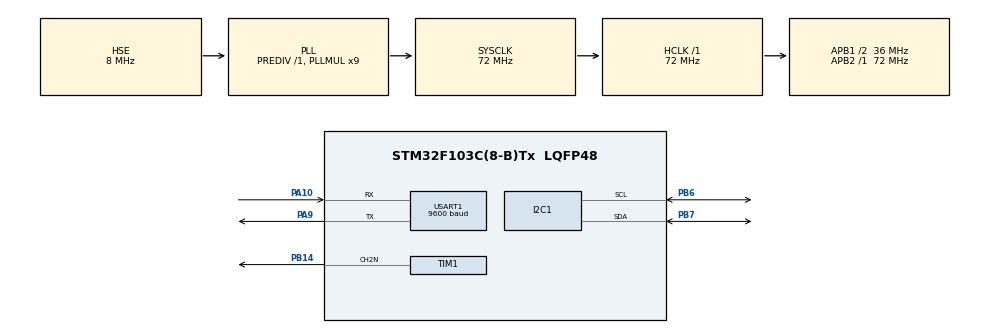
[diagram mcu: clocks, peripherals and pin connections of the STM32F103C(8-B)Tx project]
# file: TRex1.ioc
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Mcu.Family=STM32F1
Mcu.Name=STM32F103C(8-B)Tx
Mcu.Package=LQFP48
NVIC.PriorityGroup=NVIC_PRIORITYGROUP_4
PA10.Mode=Asynchronous
PA10.Signal=USART1_RX
PA13.Mode=Serial_Wire
PA13.Signal=SYS_JTMS-SWDIO
PA14.Mode=Serial_Wire
PA14.Signal=SYS_JTCK-SWCLK
PA9.Mode=Asynchronous
PA9.Signal=USART1_TX
PB14.Mode=PWM Generation2 CH2N
PB14.Signal=TIM1_CH2N
PB6.Mode=I2C
PB6.Signal=I2C1_SCL
PB7.Mode=I2C
PB7.Signal=I2C1_SDA
PD0-OSC_IN.Mode=HSE-External-Oscillator
PD0-OSC_IN.Signal=RCC_OSC_IN
PD1-OSC_OUT.Mode=HSE-External-Oscillator
PD1-OSC_OUT.Signal=RCC_OSC_OUT
ProjectManager.HeapSize=0x200
ProjectManager.StackSize=0x400
ProjectManager.TargetToolchain=MDK-ARM V5.32
RCC.AHBFreq_Value=72000000
RCC.APB1CLKDivider=RCC_HCLK_DIV2
RCC.APB1Freq_Value=36000000
RCC.APB1TimFreq_Value=72000000
RCC.APB2Freq_Value=72000000
RCC.APB2TimFreq_Value=72000000
RCC.HCLKFreq_Value=72000000
RCC.PLLMUL=RCC_PLL_MUL9
RCC.PLLSourceVirtual=RCC_PLLSOURCE_HSE
RCC.SYSCLKFreq_VALUE=72000000
RCC.SYSCLKSource=RCC_SYSCLKSOURCE_PLLCLK
RCC.USBFreq_Value=72000000
TIM1.Channel-PWM\ Generation2\ CH2N=TIM_CHANNEL_2
TIM1.Period=19999
TIM1.Prescaler=71
USART1.BaudRate=9600
USART1.VirtualMode=VM_ASYNC
VP_TIM1_VS_ClockSourceINT.Mode=Internal
board=custom

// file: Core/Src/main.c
/* USER CODE BEGIN Header */
/**
  ******************************************************************************
  * @file           : main.c
  * @brief          : Main program body
  ******************************************************************************
  * @attention
  *
  * Copyright (c) 2025 STMicroelectronics.
  * All rights reserved.
  *
  * This software is licensed under terms that can be found in the LICENSE file
  * in the root directory of this software component.
  * If no LICENSE file comes with this software, it is provided AS-IS.
  *
  ******************************************************************************
  */
/* USER CODE END Header */
#include "main.h"
#include "i2c.h"
#include "tim.h"
#include "usart.h"
#include "gpio.h"

/* USER CODE BEGIN Includes */
#include "OLED.H"
#include <stdio.h>
#include <string.h>
/* USER CODE END Includes */

void SystemClock_Config(void);

int main(void)
{

  /* MCU Configuration--------------------------------------------------------*/

  /* Reset of all peripherals, Initializes the Flash interface and the Systick. */
  HAL_Init();

  /* Configure the system clock */
  SystemClock_Config();

  /* Initialize all configured peripherals */
  MX_GPIO_Init();
  MX_TIM1_Init();
  MX_USART1_UART_Init();
  MX_I2C1_Init();
  /* USER CODE BEGIN 2 */
	OLED_Init();
	OLED_Clear();
	uint16_t number = 0;
	HAL_TIM_PWM_Start(&htim1, TIM_CHANNEL_2);
	HAL_TIMEx_PWMN_Start(&htim1, TIM_CHANNEL_2);
	__HAL_TIM_SET_COMPARE(&htim1, TIM_CHANNEL_2, 1500);
  /* USER CODE END 2 */

  /* Infinite loop */
  /* USER CODE BEGIN WHILE */
  while (1)
  {
		uint8_t cmd;
		char message[32];

		if (HAL_UART_Receive(&huart1, &cmd, 1, 10) == HAL_OK) {
				if (cmd == 'A') {
					number += 1;
					sprintf(message, "Jump:%d", number);
					OLED_ShowString(8, 3, (uint8_t*)message, strlen(message));
					__HAL_TIM_SET_COMPARE(&htim1, TIM_CHANNEL_2, 2500);
					HAL_Delay(200);
					__HAL_TIM_SET_COMPARE(&htim1, TIM_CHANNEL_2, 1500);
				}
			}
    /* USER CODE END WHILE */

  }
}

void SystemClock_Config(void)
{
  RCC_OscInitTypeDef RCC_OscInitStruct = {0};
  RCC_ClkInitTypeDef RCC_ClkInitStruct = {0};

  /** Initializes the RCC Oscillators according to the specified parameters
  * in the RCC_OscInitTypeDef structure.
  */
  RCC_OscInitStruct.OscillatorType = RCC_OSCILLATORTYPE_HSE;
  RCC_OscInitStruct.HSEState = RCC_HSE_ON;
  RCC_OscInitStruct.HSEPredivValue = RCC_HSE_PREDIV_DIV1;
  RCC_OscInitStruct.HSIState = RCC_HSI_ON;
  RCC_OscInitStruct.PLL.PLLState = RCC_PLL_ON;
  RCC_OscInitStruct.PLL.PLLSource = RCC_PLLSOURCE_HSE;
  RCC_OscInitStruct.PLL.PLLMUL = RCC_PLL_MUL9;
  if (HAL_RCC_OscConfig(&RCC_OscInitStruct) != HAL_OK)
  {
    Error_Handler();
  }

  /** Initializes the CPU, AHB and APB buses clocks
  */
  RCC_ClkInitStruct.ClockType = RCC_CLOCKTYPE_HCLK|RCC_CLOCKTYPE_SYSCLK
                              |RCC_CLOCKTYPE_PCLK1|RCC_CLOCKTYPE_PCLK2;
  RCC_ClkInitStruct.SYSCLKSource = RCC_SYSCLKSOURCE_PLLCLK;
  RCC_ClkInitStruct.AHBCLKDivider = RCC_SYSCLK_DIV1;
  RCC_ClkInitStruct.APB1CLKDivider = RCC_HCLK_DIV2;
  RCC_ClkInitStruct.APB2CLKDivider = RCC_HCLK_DIV1;

  if (HAL_RCC_ClockConfig(&RCC_ClkInitStruct, FLASH_LATENCY_2) != HAL_OK)
  {
    Error_Handler();
  }
}

void Error_Handler(void)
{
  __disable_irq();
  while (1)
  {
  }
}
